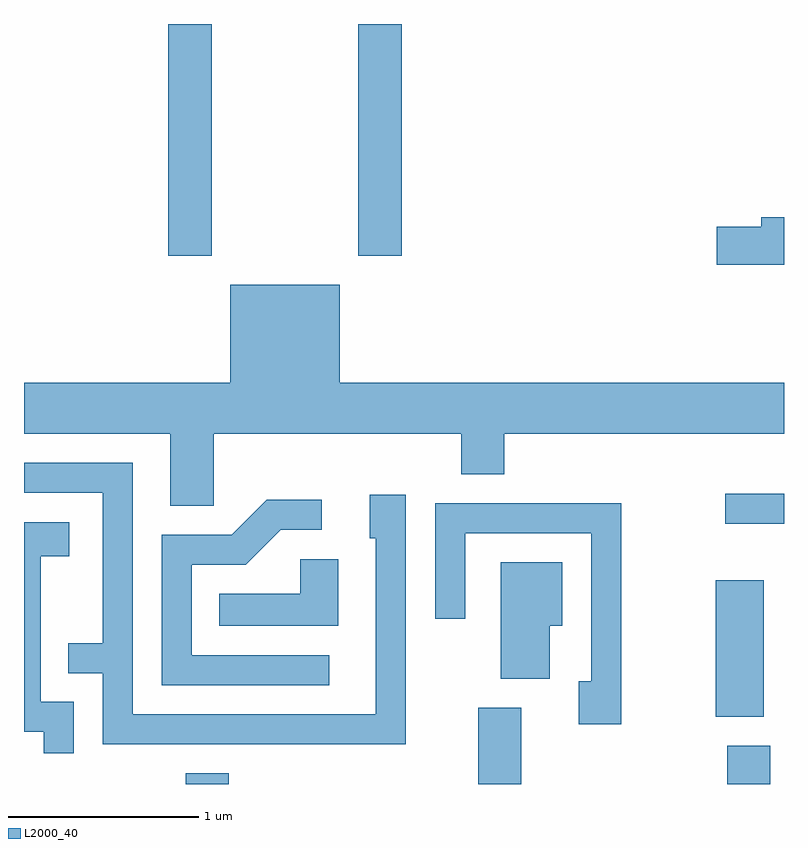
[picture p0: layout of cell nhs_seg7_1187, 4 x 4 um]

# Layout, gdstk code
import gdstk
lib = gdstk.Library(unit=1e-6, precision=1e-09)
def R(c, l, rs):  # rectangles x0, y0, x1, y1
    for r in rs: c.add(gdstk.rectangle(r[:2], r[2:], *l))
def P(c, l, *ps):  # polygons
    for p in ps: c.add(gdstk.Polygon(p, *l))
L2000_40 = (2000, 40)

nhs_seg7_1187 = lib.new_cell('nhs_seg7_1187')
R(nhs_seg7_1187, L2000_40, [(222.461,1710.252,222.689,1710.309), (224.001,1710.252,224.229,1710.654), (225.311,1710.252,225.539,1710.454), (225.251,1710.606,225.504,1711.324), (225.303,1711.621,225.611,1711.779), (222.371,1713.031,222.599,1714.252), (223.371,1713.031,223.599,1714.252)])
P(nhs_seg7_1187, L2000_40, [(225.611,1713.234),(225.491,1713.234),(225.491,1713.184),(225.256,1713.184),(225.256,1712.986),(225.611,1712.986)],
  [(222.609,1712.096),(223.911,1712.096),(223.911,1711.881),(224.139,1711.881),(224.139,1712.096),(225.611,1712.096),(225.611,1712.364),(223.274,1712.364),(223.274,1712.879),(222.696,1712.879),(222.696,1712.364),(221.611,1712.364),(221.611,1712.096),(222.381,1712.096),(222.381,1711.716),(222.609,1711.716)],
  [(223.619,1711.774),(223.431,1711.774),(223.431,1711.546),(223.461,1711.546),(223.461,1710.619),(222.184,1710.619),(222.184,1711.944),(221.611,1711.944),(221.611,1711.786),(222.026,1711.786),(222.026,1710.994),(221.843,1710.994),(221.843,1710.836),(222.026,1710.836),(222.026,1710.461),(223.619,1710.461)],
  [(223.218,1710.929),(222.494,1710.929),(222.494,1711.406),(222.777,1711.406),(222.962,1711.591),(223.178,1711.591),(223.178,1711.749),(222.889,1711.749),(222.704,1711.564),(222.336,1711.564),(222.336,1710.771),(223.218,1710.771)],
  [(224.754,1711.729),(223.776,1711.729),(223.776,1711.123),(223.934,1711.123),(223.934,1711.571),(224.596,1711.571),(224.596,1710.794),(224.531,1710.794),(224.531,1710.566),(224.754,1710.566)],
  [(221.874,1710.684),(221.699,1710.684),(221.699,1711.451),(221.849,1711.451),(221.849,1711.629),(221.611,1711.629),(221.611,1710.526),(221.716,1710.526),(221.716,1710.413),(221.874,1710.413)],
  [(223.264,1711.434),(223.066,1711.434),(223.066,1711.254),(222.638,1711.254),(222.638,1711.086),(223.264,1711.086)],
  [(224.379,1711.086),(224.444,1711.086),(224.444,1711.419),(224.121,1711.419),(224.121,1710.806),(224.379,1710.806)])

lib.write_gds('nhs_seg7_1187.gds')
